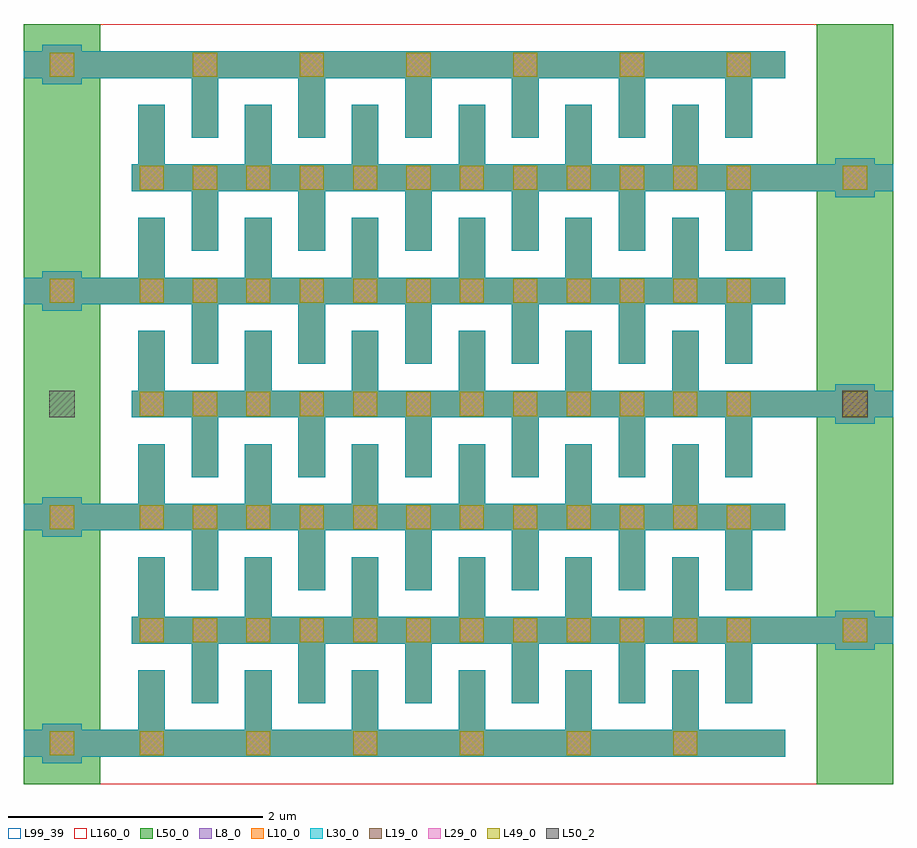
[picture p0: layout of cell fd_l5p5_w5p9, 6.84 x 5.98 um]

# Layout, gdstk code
import gdstk
lib = gdstk.Library(unit=1e-6, precision=1e-09)
def R(c, l, rs):  # rectangles x0, y0, x1, y1
    for r in rs: c.add(gdstk.rectangle(r[:2], r[2:], *l))
def A(c, l, x, y, w, h, nx, ny, dx, dy):  # array of equal rectangles
    R(c, l, [(x+i*dx, y+j*dy, x+i*dx+w, y+j*dy+h) for i in range(nx) for j in range(ny)])
L8_0 = (8, 0)
L10_0 = (10, 0)
L19_0 = (19, 0)
L29_0 = (29, 0)
L30_0 = (30, 0)
L49_0 = (49, 0)
L50_0 = (50, 0)
L50_2 = (50, 2)
L99_39 = (99, 39)
L160_0 = (160, 0)

fd_l5p5_w5p9 = lib.new_cell('fd_l5p5_w5p9')
A(fd_l5p5_w5p9, L8_0, -0.755, -0.155, 0.31, 0.31, 1, 4, 0, 1.78)
A(fd_l5p5_w5p9, L8_0, -0.9, -0.105, 5.99, 0.21, 1, 4, 0, 1.78)
A(fd_l5p5_w5p9, L8_0, 0, 0, 0.21, 0.575, 6, 6, 0.84, 0.89)
A(fd_l5p5_w5p9, L8_0, 0.42, 0.315, 0.21, 0.575, 6, 6, 0.84, 0.89)
A(fd_l5p5_w5p9, L8_0, 5.485, 0.735, 0.31, 0.31, 1, 3, 0, 1.78)
A(fd_l5p5_w5p9, L8_0, -0.05, 0.785, 5.99, 0.21, 1, 3, 0, 1.78)
A(fd_l5p5_w5p9, L10_0, -0.755, -0.155, 0.31, 0.31, 1, 4, 0, 1.78)
A(fd_l5p5_w5p9, L10_0, -0.9, -0.105, 5.99, 0.21, 1, 4, 0, 1.78)
A(fd_l5p5_w5p9, L10_0, 0, 0, 0.21, 0.575, 6, 6, 0.84, 0.89)
A(fd_l5p5_w5p9, L10_0, 0.42, 0.315, 0.21, 0.575, 6, 6, 0.84, 0.89)
A(fd_l5p5_w5p9, L10_0, 5.485, 0.735, 0.31, 0.31, 1, 3, 0, 1.78)
A(fd_l5p5_w5p9, L10_0, -0.05, 0.785, 5.99, 0.21, 1, 3, 0, 1.78)
A(fd_l5p5_w5p9, L19_0, -0.695, -0.095, 0.19, 0.19, 1, 4, 0, 1.78)
A(fd_l5p5_w5p9, L19_0, 0.01, -0.095, 0.19, 0.19, 6, 1, 0.84, 0)
A(fd_l5p5_w5p9, L19_0, 0.01, 0.795, 0.19, 0.19, 12, 5, 0.42, 0.89)
A(fd_l5p5_w5p9, L19_0, 5.545, 0.795, 0.19, 0.19, 1, 3, 0, 1.78)
A(fd_l5p5_w5p9, L19_0, 0.43, 5.245, 0.19, 0.19, 6, 1, 0.84, 0)
A(fd_l5p5_w5p9, L29_0, -0.695, -0.095, 0.19, 0.19, 1, 4, 0, 1.78)
A(fd_l5p5_w5p9, L29_0, 0.01, -0.095, 0.19, 0.19, 6, 1, 0.84, 0)
A(fd_l5p5_w5p9, L29_0, 0.01, 0.795, 0.19, 0.19, 12, 5, 0.42, 0.89)
A(fd_l5p5_w5p9, L29_0, 5.545, 0.795, 0.19, 0.19, 1, 3, 0, 1.78)
A(fd_l5p5_w5p9, L29_0, 0.43, 5.245, 0.19, 0.19, 6, 1, 0.84, 0)
A(fd_l5p5_w5p9, L30_0, -0.755, -0.155, 0.31, 0.31, 1, 4, 0, 1.78)
A(fd_l5p5_w5p9, L30_0, -0.9, -0.105, 5.99, 0.21, 1, 4, 0, 1.78)
A(fd_l5p5_w5p9, L30_0, 0, 0, 0.21, 0.575, 6, 6, 0.84, 0.89)
A(fd_l5p5_w5p9, L30_0, 0.42, 0.315, 0.21, 0.575, 6, 6, 0.84, 0.89)
A(fd_l5p5_w5p9, L30_0, 5.485, 0.735, 0.31, 0.31, 1, 3, 0, 1.78)
A(fd_l5p5_w5p9, L30_0, -0.05, 0.785, 5.99, 0.21, 1, 3, 0, 1.78)
A(fd_l5p5_w5p9, L49_0, -0.695, -0.095, 0.19, 0.19, 1, 4, 0, 1.78)
A(fd_l5p5_w5p9, L49_0, 0.01, -0.095, 0.19, 0.19, 6, 1, 0.84, 0)
A(fd_l5p5_w5p9, L49_0, 0.01, 0.795, 0.19, 0.19, 12, 5, 0.42, 0.89)
A(fd_l5p5_w5p9, L49_0, 5.545, 0.795, 0.19, 0.19, 1, 3, 0, 1.78)
A(fd_l5p5_w5p9, L49_0, 0.43, 5.245, 0.19, 0.19, 6, 1, 0.84, 0)
A(fd_l5p5_w5p9, L50_0, -0.9, -0.105, 5.99, 0.21, 1, 4, 0, 1.78)
A(fd_l5p5_w5p9, L50_0, 0, 0, 0.21, 0.575, 6, 6, 0.84, 0.89)
A(fd_l5p5_w5p9, L50_0, 0.42, 0.315, 0.21, 0.575, 6, 6, 0.84, 0.89)
A(fd_l5p5_w5p9, L50_0, -0.05, 0.785, 5.99, 0.21, 1, 3, 0, 1.78)
R(fd_l5p5_w5p9, L50_0, [(-0.9,-0.32,-0.3,5.66), (5.34,-0.32,5.94,5.66)])
R(fd_l5p5_w5p9, L50_2, [(-0.7,2.565,-0.5,2.775), (5.54,2.565,5.74,2.775)])
R(fd_l5p5_w5p9, L99_39, [(-0.9,-0.32,5.94,5.66)])
R(fd_l5p5_w5p9, L160_0, [(-0.9,-0.32,5.94,5.66)])
fd_l5p5_w5p9.add(gdstk.Label('cap_cmomi C=24.447fF', (-0.9,-0.82), layer=63, texttype=0))

lib.write_gds('fd_l5p5_w5p9.gds')
